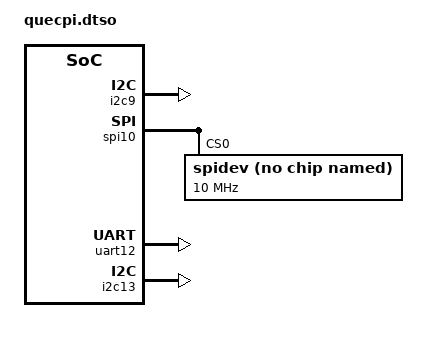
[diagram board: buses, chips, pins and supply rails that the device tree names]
// SPDX-License-Identifier: BSD-3-Clause
/*
 * Copyright (c) 2025 Thundercomm, Inc. All rights reserved.
 */
 /dts-v1/;
 /plugin/;

&i2c9 {
    status = "ok";
};

&spi10 {
    status = "ok";
    #address-cells = <1>;
    #size-cells = <0>;
    spidev@0 {
        compatible = "rohm,dh2228fv";
        spi-max-frequency = <10000000>;
        reg = <0>;
    };
};

&qup_uart12_rx {
	drive-strength = <2>;
	bias-pull-up;
};

&qup_uart12_tx {
	drive-strength = <2>;
	bias-disable;
};

&uart12 {
    status = "ok";
};

&i2c13 {
    status = "ok";
};

&spi14 {
    status = "disabled";
    #address-cells = <1>;
    #size-cells = <0>;
    spidev@0 {
        compatible = "rohm,dh2228fv";
        spi-max-frequency = <10000000>;
        reg = <0>;
    };
};

&scm {
    download_mode = <DOWNLOAD_MODE>;
};
